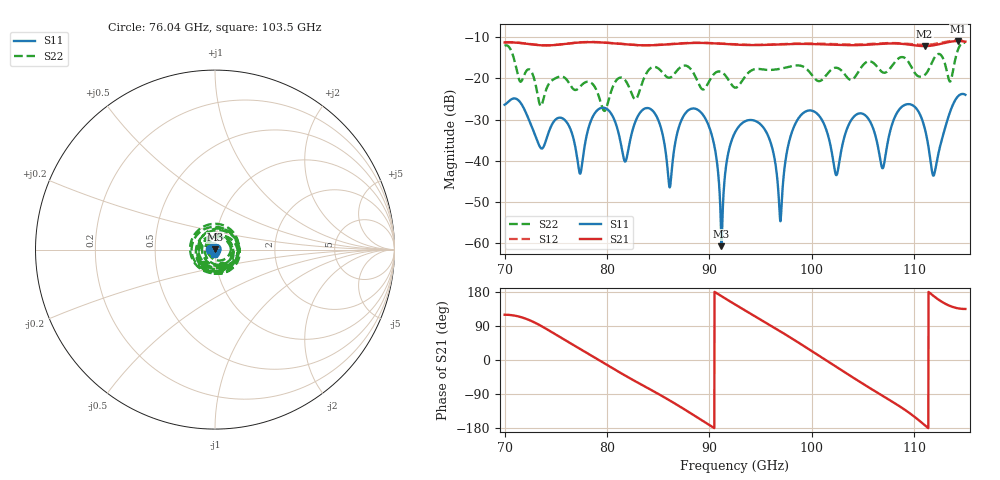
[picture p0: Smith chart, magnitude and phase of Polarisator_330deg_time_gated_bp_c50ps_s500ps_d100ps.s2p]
# Hz S RI R 1.000000
! Metas.Vna.Tools, 2.4.7898.19887
! Metas.Vna.Data, 2.4.7898.19873
! Created: UTC 2021.09.30 14:31:00
! FREQ  re:S1,1  im:S1,1  re:S2,1  im:S2,1  re:S1,2  im:S1,2  re:S2,2  im:S2,2
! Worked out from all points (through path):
!   2251 points, 70 GHz to 115 GHz, reference 1 ohm
!   highest |S21| = -10.93 dB at 114.3 GHz (marker M1); lowest = -12.2 dB at 111 GHz (marker M2)
!   lowest |S11| = -60.7 dB at 91.18 GHz (marker M3), VSWR 1.00, Z = 1 + j0.00182 ohm
!   |S11| at or under -10 dB: start of sweep to end of sweep
!   |S22| runs from -27.9 to -11.3 dB; largest |S21 - S12| = 0.051
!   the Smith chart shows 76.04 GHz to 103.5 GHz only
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7e10  0.0429 -0.0213  -0.1342 0.2376  -0.1374 0.2378  -0.1371 -0.2065
7.352e10  -0.0118 -0.00812  -0.00273 0.2524  -0.00487 0.2534  -0.0275 -0.0371
7.564e10  -0.0311 -0.0105  0.1422 0.2172  0.1415 0.2184  0.0951 -0.0452
7.75e10  0.00795 -6.87e-06  0.2434 0.1251  0.2438 0.1267  -0.0183 0.0805
7.924e10  -0.0294 -0.031  0.2739 -0.00308  0.2753 -0.00104  0.00392 -0.0584
8.176e10  -0.00972 -0.000895  0.1956 -0.1695  0.1979 -0.1678  0.0549 -0.0781
8.5e10  -0.0124 0.0288  0.00308 -0.2543  0.00537 -0.2554  -0.0062 -0.1323
8.612e10  0.0045 -0.0015  -0.0745 -0.2486  -0.0723 -0.2509  -0.0656 0.0779
8.942e10  -0.00412 0.0352  -0.2557 -0.0843  -0.2555 -0.0879  -0.0146 0.0719
9.118e10  0.000117 0.00091  -0.2579 0.0528  -0.2597 0.0497  -0.0349 -0.1141
9.25e10  -0.00622 0.0211  -0.215 0.1414  -0.2183 0.1392  0.000492 0.0773
9.542e10  0.0103 -0.0215  -0.044 0.251  -0.0483 0.2518  -0.0231 0.1253
9.694e10  -0.00101 0.00154  0.0655 0.2504  0.0632 0.2529  0.0257 -0.1284
9.804e10  0.0214 -0.00498  0.142 0.2194  0.142 0.2221  -0.1275 0.0596
1e11  -0.011 -0.039  0.2396 0.1042  0.2432 0.1055  0.0541 -0.0962
1.0238e11  -0.00429 -0.00513  0.2432 -0.0787  0.2482 -0.0789  0.1344 0.00844
1.0436e11  -0.0216 -0.0293  0.1559 -0.1995  0.1631 -0.2  -0.0466 0.0999
1.075e11  -0.00665 -0.0178  -0.0648 -0.2573  -0.0551 -0.2626  -0.0541 0.1135
1.1102e11  -0.0167 0.0186  -0.2439 -0.0354  -0.2486 -0.0571  0.0299 0.1054
1.1192e11  -0.00665 5.58e-05  -0.2471 0.0511  -0.2602 0.0233  0.1475 -0.0914
1.143e11  -0.0393 0.0467  -0.2053 0.1966  -0.2398 0.1607  0.0701 0.2157
1.15e11  -0.025 0.0581  -0.1964 0.1987  -0.2332 0.164  0.2062 0.1718
